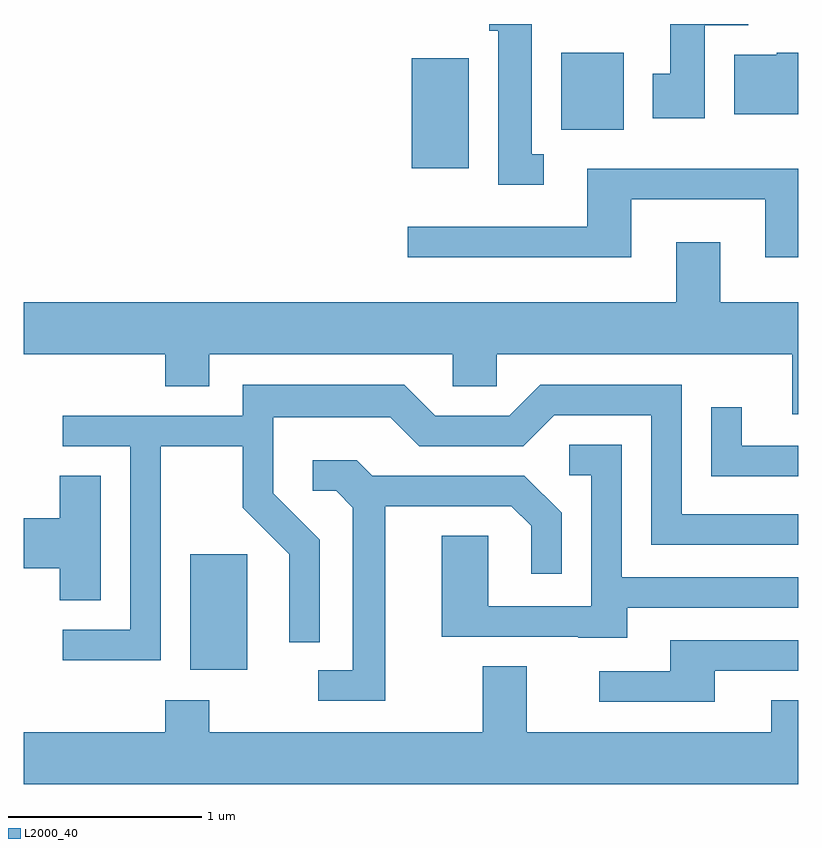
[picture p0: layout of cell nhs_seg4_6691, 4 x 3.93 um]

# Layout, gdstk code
import gdstk
lib = gdstk.Library(unit=1e-6, precision=1e-09)
def R(c, l, rs):  # rectangles x0, y0, x1, y1
    for r in rs: c.add(gdstk.rectangle(r[:2], r[2:], *l))
def P(c, l, *ps):  # polygons
    for p in ps: c.add(gdstk.Polygon(p, *l))
L2000_40 = (2000, 40)

nhs_seg4_6691 = lib.new_cell('nhs_seg4_6691')
R(nhs_seg4_6691, L2000_40, [(382.471,1308.646,382.764,1309.244), (383.616,1311.236,383.909,1311.804), (384.386,1311.436,384.709,1311.834)])
P(nhs_seg4_6691, L2000_40, [(384.298,1311.309),(384.234,1311.309),(384.234,1311.982),(384.016,1311.982),(384.016,1311.946),(384.061,1311.946),(384.061,1311.151),(384.298,1311.151)],
  [(385.129,1311.976),(385.354,1311.976),(385.354,1311.982),(384.951,1311.982),(384.951,1311.724),(384.861,1311.724),(384.861,1311.496),(385.129,1311.496)],
  [(385.611,1311.834),(385.5,1311.834),(385.5,1311.824),(385.281,1311.824),(385.281,1311.516),(385.611,1311.516)],
  [(384.749,1311.076),(385.441,1311.076),(385.441,1310.776),(385.611,1310.776),(385.611,1311.234),(384.521,1311.234),(384.521,1310.934),(383.593,1310.934),(383.593,1310.776),(384.749,1310.776)],
  [(385.611,1310.544),(385.209,1310.544),(385.209,1310.854),(384.981,1310.854),(384.981,1310.544),(381.611,1310.544),(381.611,1310.276),(382.341,1310.276),(382.341,1310.111),(382.569,1310.111),(382.569,1310.276),(383.826,1310.276),(383.826,1310.111),(384.054,1310.111),(384.054,1310.276),(385.581,1310.276),(385.581,1309.966),(385.611,1309.966)],
  [(382.319,1309.801),(382.741,1309.801),(382.741,1309.484),(382.981,1309.244),(382.981,1308.788),(383.139,1308.788),(383.139,1309.317),(382.899,1309.557),(382.899,1309.951),(383.504,1309.951),(383.654,1309.801),(384.192,1309.801),(384.352,1309.961),(384.851,1309.961),(384.851,1309.291),(385.611,1309.291),(385.611,1309.449),(385.009,1309.449),(385.009,1310.119),(384.279,1310.119),(384.119,1309.959),(383.737,1309.959),(383.577,1310.119),(382.741,1310.119),(382.741,1309.959),(381.813,1309.959),(381.813,1309.801),(382.161,1309.801),(382.161,1308.854),(381.813,1308.854),(381.813,1308.696),(382.319,1308.696)],
  [(385.611,1309.804),(385.319,1309.804),(385.319,1310.003),(385.161,1310.003),(385.161,1309.646),(385.611,1309.646)],
  [(384.729,1308.966),(385.611,1308.966),(385.611,1309.124),(384.699,1309.124),(384.699,1309.809),(384.428,1309.809),(384.428,1309.651),(384.541,1309.651),(384.541,1308.974),(384.009,1308.974),(384.009,1309.339),(383.771,1309.339),(383.771,1308.816),(384.475,1308.816),(384.475,1308.811),(384.729,1308.811)],
  [(383.479,1309.491),(384.129,1309.491),(384.231,1309.389),(384.231,1309.143),(384.389,1309.143),(384.389,1309.457),(384.197,1309.649),(383.412,1309.649),(383.332,1309.729),(383.103,1309.729),(383.103,1309.571),(383.224,1309.571),(383.311,1309.484),(383.311,1308.644),(383.133,1308.644),(383.133,1308.486),(383.479,1308.486)],
  [(382.009,1309.649),(381.796,1309.649),(381.796,1309.429),(381.611,1309.429),(381.611,1309.171),(381.796,1309.171),(381.796,1309.006),(382.009,1309.006)],
  [(385.179,1308.641),(385.611,1308.641),(385.611,1308.799),(384.951,1308.799),(384.951,1308.639),(384.583,1308.639),(384.583,1308.481),(385.179,1308.481)],
  [(385.611,1308.489),(385.471,1308.489),(385.471,1308.324),(384.209,1308.324),(384.209,1308.664),(383.981,1308.664),(383.981,1308.324),(382.569,1308.324),(382.569,1308.489),(382.341,1308.489),(382.341,1308.324),(381.611,1308.324),(381.611,1308.056),(385.611,1308.056)])

lib.write_gds('nhs_seg4_6691.gds')
